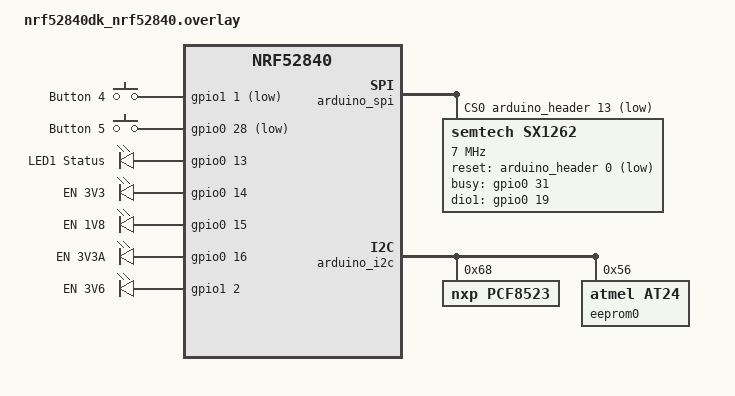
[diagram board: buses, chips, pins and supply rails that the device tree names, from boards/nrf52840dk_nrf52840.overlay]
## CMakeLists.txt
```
# SPDX-License-Identifier: Apache-2.0

cmake_minimum_required(VERSION 3.20.0)

set(APP_DIR ${CMAKE_CURRENT_SOURCE_DIR})

# Match onboarding_config.h DEVICE_HW_VARIANT → Kconfig fragment, devicetree, modules.
file(READ "${APP_DIR}/include/onboarding_config.h" ONBOARDING_CONFIG_H_CONTENT)
if(ONBOARDING_CONFIG_H_CONTENT MATCHES "#define DEVICE_HW_VARIANT FLEXBOX_PLUS")
  set(FB_DEVICE_HW_VARIANT "FLEXBOX_PLUS")
elseif(ONBOARDING_CONFIG_H_CONTENT MATCHES "#define DEVICE_HW_VARIANT FLEXBOX")
  set(FB_DEVICE_HW_VARIANT "FLEXBOX")
elseif(ONBOARDING_CONFIG_H_CONTENT MATCHES "#define DEVICE_HW_VARIANT FLEXBOX_PLUS_MED")
  set(FB_DEVICE_HW_VARIANT "FLEXBOX_PLUS_MED")
else()
  message(FATAL_ERROR
    "onboarding_config.h: DEVICE_HW_VARIANT must be FLEXBOX or FLEXBOX_PLUS or FLEXBOX_PLUS_MED")
endif()

list(APPEND CONF_FILE "${APP_DIR}/prj.conf")
if(FB_DEVICE_HW_VARIANT STREQUAL "FLEXBOX_PLUS")
  list(APPEND CONF_FILE "${APP_DIR}/prj_flexbox_plus.conf")
  list(APPEND ZEPHYR_EXTRA_MODULES
    ${APP_DIR}/pn5180
    ${APP_DIR}/ssd1683
  )
  list(APPEND DTC_OVERLAY_FILE
    ${APP_DIR}/boards/nrf52840dk_nrf52840.overlay
    ${APP_DIR}/boards/nrf52840dk_nrf52840_flexbox_plus.overlay
  )
elseif(FB_DEVICE_HW_VARIANT STREQUAL "FLEXBOX_PLUS_MED")
  list(APPEND CONF_FILE "${APP_DIR}/prj_flexbox_plus_med.conf")
  list(APPEND ZEPHYR_EXTRA_MODULES
      ${APP_DIR}/ssd1683
  )
  list(APPEND DTC_OVERLAY_FILE
    ${APP_DIR}/boards/nrf52840dk_nrf52840.overlay
    ${APP_DIR}/boards/nrf52840dk_nrf52840_flexbox_plus_med.overlay
  )
else()
  list(APPEND CONF_FILE "${APP_DIR}/prj_flexbox.conf")
endif()

find_package(Zephyr REQUIRED HINTS $ENV{ZEPHYR_BASE})
project(feedbacknow1.2)

message(STATUS "FlexBox DEVICE_HW_VARIANT: ${FB_DEVICE_HW_VARIANT}")

target_include_directories(app PRIVATE
  ${APP_DIR}/include
)

set(APP_SOURCES
  src/main.c
  src/boot_info.c
  src/hw_variant_guard.c
  src/lora_app.c
  src/lora_link_stats.c
  src/lora_thread.c
  src/devnonce_store.c
  src/join_state_store.c
  src/payload_gen.c
  src/power_ctrl.c
  src/rail_manager.c
  src/buttons.c
  src/button_thread.c
  src/leds.c
  src/led_manager.c
  src/time_sync.c
  src/eeprom_probe.c
  src/button_counter_store.c
  src/last_cleaned_store.c
  src/tz_offset_store.c
  src/rtc.c
  src/smf_system_mode.c
  src/counter_sync.c
  src/downlink_dispatch.c
  src/display_manager.c
  src/nfc_service.c
  src/app_logic.c
  src/housekeeping.c
  src/adc.c
  src/inactivity_wdt.c
)

if(FB_DEVICE_HW_VARIANT STREQUAL "FLEXBOX_PLUS")
  target_include_directories(app PRIVATE
    ${APP_DIR}/assets/fonts
    ${APP_DIR}/assets/display_screens
  )
  list(APPEND APP_SOURCES
    assets/fonts/roboto_20.c
    assets/fonts/roboto_32.c
    assets/fonts/roboto_28.c
    assets/fonts/roboto_36.c
    assets/fonts/roboto_bold_36.c
    assets/fonts/roboto_bold_42.c
    assets/display_screens/boot_screen.c
    assets/display_screens/thanks_en.c
    assets/display_screens/thanks_fr.c
    assets/display_screens/thanks_de.c
    assets/display_screens/thanks_es.c
    assets/display_screens/cleaning_en.c
    assets/display_screens/cleaning_fr.c
    assets/display_screens/cleaning_de.c
    assets/display_screens/cleaning_es.c
  )
elseif(FB_DEVICE_HW_VARIANT STREQUAL "FLEXBOX_PLUS_MED")
  target_include_directories(app PRIVATE
    ${APP_DIR}/assets/fonts
    ${APP_DIR}/assets/display_screens
  )
  list(APPEND APP_SOURCES
    assets/fonts/roboto_20.c
    assets/fonts/roboto_32.c
    assets/fonts/roboto_28.c
    assets/fonts/roboto_36.c
    assets/fonts/roboto_bold_36.c
    assets/fonts/roboto_bold_42.c
    assets/display_screens/boot_screen.c
  )
endif()

target_sources(app PRIVATE ${APP_SOURCES})
```

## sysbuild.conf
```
# Sysbuild configuration for FeedbackNow Flexbox
# Enables MCUboot secure bootloader and dual-slot partition layout for OTA DFU.

SB_CONFIG_BOOTLOADER_MCUBOOT=y
SB_CONFIG_MCUBOOT_MODE_OVERWRITE_ONLY=y
```

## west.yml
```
manifest:
  self:
    path: application
  remotes:
    - name: nrf
      url-base: https://github.com/nrfconnect
  projects:
    - name: sdk-nrf
      remote: nrf
      path: nrf
      revision: v3.0.2
      import:
        path-prefix: external
      clone-depth: 1
```

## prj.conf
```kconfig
# --- 1. System & Kernel ---
CONFIG_MULTITHREADING=y
CONFIG_TICKLESS_KERNEL=y
CONFIG_REBOOT=y
CONFIG_POWEROFF=y
# hwinfo: reset-cause read for commissioning-boot gating (see boot_info.c)
CONFIG_HWINFO=y
# Optimization for production
CONFIG_SIZE_OPTIMIZATIONS=y
CONFIG_HEAP_MEM_POOL_SIZE=8192
CONFIG_MAIN_STACK_SIZE=32768
CONFIG_SYSTEM_WORKQUEUE_STACK_SIZE=4096
# --- 2. Hardware Bus Drivers ---
CONFIG_GPIO=y
CONFIG_SPI=y
CONFIG_I2C=y
CONFIG_ADC=y
CONFIG_ADC_ASYNC=y

# --- 3. External Peripherals ---
# PN5180 / SSD1683 / LVGL: prj_flexbox.conf or prj_flexbox_plus.conf (CMake picks
# from onboarding_config.h DEVICE_HW_VARIANT).
CONFIG_RTC=y
CONFIG_RTC_PCF8523=y
CONFIG_EEPROM=y
CONFIG_EEPROM_AT24=y
CONFIG_CRC=y

# --- 4. LoRaWAN Stack ---
CONFIG_LORA=y
CONFIG_LORAWAN=y
# BEGIN LORAWAN_REGION (gen_euis.py)
CONFIG_LORAMAC_REGION_US915=y
# CONFIG_LORAMAC_REGION_EU868=y
# END LORAWAN_REGION (gen_euis.py)
CONFIG_LORA_SX126X=y
# Helpful for handling downlinks and MAC commands properly
CONFIG_LORAWAN_SERVICES=y

# --- 5. Security & Stability ---
CONFIG_MPU=y
CONFIG_ARM_MPU=y
CONFIG_MPU_STACK_GUARD=y
CONFIG_STACK_CANARIES=y
CONFIG_THREAD_STACK_INFO=y
CONFIG_INIT_STACKS=y
CONFIG_THREAD_NAME=y
# Stack depth verification: logs per-thread max stack use (see sys_config stacks).
# CONFIG_THREAD_ANALYZER=y
# CONFIG_THREAD_ANALYZER_USE_LOG=y
# CONFIG_THREAD_ANALYZER_AUTO=y
# CONFIG_THREAD_ANALYZER_AUTO_INTERVAL=3600

# --- Log verbosity (see include/log_fmt.h).
# Levels: 4=DBG 3=INF 2=WRN 1=ERR.
# Default 3: LOG_STATE (subsystem) + LOG_EVT (telemetry) + WRN/ERR.
# Full DBG trace: CONFIG_LOG_DEFAULT_LEVEL=4
# ERR-only production: CONFIG_LOG_DEFAULT_LEVEL=1
# CONFIG_LORAWAN_LOG_LEVEL_WRN=y

# --- 6. Logging & Console (Production Silence) ---
# Disable serial and console to save significant battery power
CONFIG_SERIAL=n
CONFIG_CONSOLE=n
CONFIG_UART_CONSOLE=n
CONFIG_LOG=y
CONFIG_LOG_MODE_DEFERRED=y
CONFIG_LOG_DEFAULT_LEVEL=3
# Thread analyzer + boot burst fill the default ring; avoid "--- N messages dropped ---".
CONFIG_LOG_BUFFER_SIZE=8192
CONFIG_LOG_PROCESS_THREAD_STACK_SIZE=1536

# --- 7. Power Management & Debug ---
# CONFIG_PM/CONFIG_PM_DEVICE: not satisfied on nRF52840 in Zephyr 4.x (SoC deps); omit to avoid Kconfig warning.
# CONFIG_PM=y
# CONFIG_PM_DEVICE=y

# --- 8. Bluetooth Low Energy (BLE) ---
CONFIG_BT=y
CONFIG_BT_PERIPHERAL=y
CONFIG_BT_DEVICE_NAME="FBN-Flexbox-DEMO-0032"
CONFIG_BT_DEVICE_APPEARANCE=0

# Nordic SoftDevice Controller
CONFIG_BT_LL_SOFTDEVICE=y

# BLE connection & buffer tuning
CONFIG_BT_MAX_CONN=1
CONFIG_BT_MAX_PAIRED=1
CONFIG_BT_SMP=y
CONFIG_BT_BONDABLE=y
CONFIG_BT_SMP_SC_PAIR_ONLY=n
CONFIG_BT_SMP_ENFORCE_MITM=n
CONFIG_BT_BUF_ACL_RX_SIZE=502
CONFIG_BT_BUF_ACL_TX_SIZE=502
CONFIG_BT_L2CAP_TX_MTU=498
CONFIG_BT_RX_STACK_SIZE=2048

# Mobile GAP connection parameter auto-negotiation (iOS & Android friendly)
CONFIG_BT_GAP_AUTO_UPDATE_CONN_PARAMS=y
CONFIG_BT_PERIPHERAL_PREF_MIN_INT=24
CONFIG_BT_PERIPHERAL_PREF_MAX_INT=40
CONFIG_BT_PERIPHERAL_PREF_LATENCY=0
CONFIG_BT_PERIPHERAL_PREF_TIMEOUT=400


# Standard Device Information Service (DIS)
CONFIG_BT_DIS=y
CONFIG_BT_DIS_MANUF_NAME=y
CONFIG_BT_DIS_MANUF_NAME_STR="FeedbackNow"
CONFIG_BT_DIS_MODEL_NUMBER=y
CONFIG_BT_DIS_MODEL_NUMBER_STR="Flexbox"
CONFIG_BT_DIS_FW_REV=y
CONFIG_BT_DIS_FW_REV_STR="1.5.38"
CONFIG_BT_DIS_HW_REV=y
CONFIG_BT_DIS_HW_REV_STR="nRF52840"

# --- 9. MCUboot Bootloader & Flash Management ---
CONFIG_BOOTLOADER_MCUBOOT=y
CONFIG_MCUBOOT_IMGTOOL_SIGN_VERSION="1.5.38"
CONFIG_FLASH=y
CONFIG_FLASH_MAP=y
CONFIG_STREAM_FLASH=y
CONFIG_IMG_MANAGER=y
CONFIG_MCUBOOT_IMG_MANAGER=y

# --- 10. MCUmgr Over-The-Air (OTA) DFU via BLE ---
CONFIG_NET_BUF=y
CONFIG_ZCBOR=y
CONFIG_CRC=y
CONFIG_MCUMGR=y
CONFIG_MCUMGR_GRP_IMG=y
CONFIG_MCUMGR_GRP_OS=y
CONFIG_MCUMGR_TRANSPORT_BT=y
CONFIG_MCUMGR_TRANSPORT_BT_PERM_RW=y
CONFIG_MCUMGR_TRANSPORT_BT_CONN_PARAM_CONTROL=y
CONFIG_MCUMGR_TRANSPORT_BT_REASSEMBLY=y
CONFIG_MCUMGR_TRANSPORT_NETBUF_SIZE=2475
CONFIG_MCUMGR_GRP_OS_MCUMGR_PARAMS=y
CONFIG_MCUMGR_TRANSPORT_WORKQUEUE_STACK_SIZE=4608
CONFIG_SYSTEM_WORKQUEUE_STACK_SIZE=4096
```

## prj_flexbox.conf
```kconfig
# FLEXBOX variant (DEVICE_HW_VARIANT FLEXBOX in onboarding_config.h).
#
# CMake selects this fragment automatically. PN5180, SSD1683, DISPLAY, and LVGL
# are omitted by not adding those Zephyr modules or the flexbox_plus overlay —
# do not reference CONFIG_PN5180 / CONFIG_SSD1683 here (symbols do not exist).
```

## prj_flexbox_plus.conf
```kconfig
# FLEXBOX_PLUS variant — EPD (SSD1683), NFC (PN5180), LVGL (paired with
# DEVICE_HW_VARIANT FLEXBOX_PLUS in onboarding_config.h; CMake appends this
# fragment automatically).

CONFIG_PN5180=y
CONFIG_DISPLAY=y
CONFIG_SSD1683=y

CONFIG_LVGL=y
CONFIG_LV_Z_MEM_POOL_SIZE=16384
CONFIG_LV_USE_LABEL=y
CONFIG_LV_USE_LINE=y
CONFIG_LV_FONT_FMT_TXT_LARGE=y
CONFIG_LV_COLOR_DEPTH_1=y
CONFIG_LV_DPI_DEF=100

# Disable unused LVGL widgets to fit dual-bank OTA DFU partition
CONFIG_LV_USE_ANIMIMG=n
CONFIG_LV_USE_ARC=n
CONFIG_LV_USE_BAR=n
CONFIG_LV_USE_BUTTON=n
CONFIG_LV_USE_BUTTONMATRIX=n
CONFIG_LV_USE_CALENDAR=n
CONFIG_LV_USE_CANVAS=n
CONFIG_LV_USE_CHART=n
CONFIG_LV_USE_CHECKBOX=n
CONFIG_LV_USE_DROPDOWN=n
CONFIG_LV_USE_IMAGEBUTTON=n
CONFIG_LV_USE_KEYBOARD=n
CONFIG_LV_USE_LED=n
CONFIG_LV_USE_LIST=n
CONFIG_LV_USE_MENU=n
CONFIG_LV_USE_MSGBOX=n
CONFIG_LV_USE_ROLLER=n
CONFIG_LV_USE_SCALE=n
CONFIG_LV_USE_SLIDER=n
CONFIG_LV_USE_SPAN=n
CONFIG_LV_USE_SPINBOX=n
CONFIG_LV_USE_SPINNER=n
CONFIG_LV_USE_SWITCH=n
CONFIG_LV_USE_TEXTAREA=n
CONFIG_LV_USE_TABLE=n
CONFIG_LV_USE_TABVIEW=n
CONFIG_LV_USE_TILEVIEW=n
CONFIG_LV_USE_WIN=n

# Disable unused draw blend color formats (EPD is 1-bit monochrome)
CONFIG_LV_DRAW_SW_SUPPORT_RGB565=n
CONFIG_LV_DRAW_SW_SUPPORT_RGB565A8=n
CONFIG_LV_DRAW_SW_SUPPORT_RGB888=n
CONFIG_LV_DRAW_SW_SUPPORT_XRGB8888=n
CONFIG_LV_DRAW_SW_SUPPORT_ARGB8888=y
CONFIG_LV_DRAW_SW_SUPPORT_L8=n
CONFIG_LV_DRAW_SW_SUPPORT_AL88=n
CONFIG_LV_DRAW_SW_SUPPORT_A8=n
CONFIG_LV_DRAW_SW_SUPPORT_I1=y

# Use minimal monospace font for default theme instead of 15 KB Montserrat 14
CONFIG_LV_FONT_MONTSERRAT_14=n
CONFIG_LV_FONT_DEFAULT_UNSCII_8=y

CONFIG_SSD1683_LOG_LEVEL=1
CONFIG_PN5180_LOG_LEVEL=1
```

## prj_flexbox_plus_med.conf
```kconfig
# FLEXBOX_PLUS_MED variant — EPD (SSD1683), LVGL (paired with
# DEVICE_HW_VARIANT FLEXBOX_PLUS_MED in onboarding_config.h; CMake appends this
# fragment automatically).

CONFIG_PN5180=n
CONFIG_DISPLAY=y
CONFIG_SSD1683=y

CONFIG_LVGL=y
CONFIG_LV_Z_MEM_POOL_SIZE=16384
CONFIG_LV_USE_LABEL=y
CONFIG_LV_USE_LINE=y
CONFIG_LV_FONT_FMT_TXT_LARGE=y
CONFIG_LV_COLOR_DEPTH_1=y
CONFIG_LV_DPI_DEF=100

# Disable unused LVGL widgets to fit dual-bank OTA DFU partition
CONFIG_LV_USE_ANIMIMG=n
CONFIG_LV_USE_ARC=n
CONFIG_LV_USE_BAR=n
CONFIG_LV_USE_BUTTON=n
CONFIG_LV_USE_BUTTONMATRIX=n
CONFIG_LV_USE_CALENDAR=n
CONFIG_LV_USE_CANVAS=n
CONFIG_LV_USE_CHART=n
CONFIG_LV_USE_CHECKBOX=n
CONFIG_LV_USE_DROPDOWN=n
CONFIG_LV_USE_IMAGEBUTTON=n
CONFIG_LV_USE_KEYBOARD=n
CONFIG_LV_USE_LED=n
CONFIG_LV_USE_LIST=n
CONFIG_LV_USE_MENU=n
CONFIG_LV_USE_MSGBOX=n
CONFIG_LV_USE_ROLLER=n
CONFIG_LV_USE_SCALE=n
CONFIG_LV_USE_SLIDER=n
CONFIG_LV_USE_SPAN=n
CONFIG_LV_USE_SPINBOX=n
CONFIG_LV_USE_SPINNER=n
CONFIG_LV_USE_SWITCH=n
CONFIG_LV_USE_TEXTAREA=n
CONFIG_LV_USE_TABLE=n
CONFIG_LV_USE_TABVIEW=n
CONFIG_LV_USE_TILEVIEW=n
CONFIG_LV_USE_WIN=n

# Disable unused draw blend color formats (EPD is 1-bit monochrome)
CONFIG_LV_DRAW_SW_SUPPORT_RGB565=n
CONFIG_LV_DRAW_SW_SUPPORT_RGB565A8=n
CONFIG_LV_DRAW_SW_SUPPORT_RGB888=n
CONFIG_LV_DRAW_SW_SUPPORT_XRGB8888=n
CONFIG_LV_DRAW_SW_SUPPORT_ARGB8888=y
CONFIG_LV_DRAW_SW_SUPPORT_L8=n
CONFIG_LV_DRAW_SW_SUPPORT_AL88=n
CONFIG_LV_DRAW_SW_SUPPORT_A8=n
CONFIG_LV_DRAW_SW_SUPPORT_I1=y

# Use minimal monospace font for default theme instead of 15 KB Montserrat 14
CONFIG_LV_FONT_MONTSERRAT_14=n
CONFIG_LV_FONT_DEFAULT_UNSCII_8=y

CONFIG_SSD1683_LOG_LEVEL=1
#CONFIG_PN5180_LOG_LEVEL=1
```

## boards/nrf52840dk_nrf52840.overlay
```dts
/ {
    aliases {
        sw0 = &button0;
        sw1 = &button1;
        sw2 = &button2;
        sw3 = &button3;
        sw4 = &button4;
        sw5 = &button5;
        led0 = &led0;
        lora0 = &lora_semtech_sx1262mb2das;
    };

    buttons {
        compatible = "gpio-keys";

        button4: button_4 {
            label = "Button 4";
            gpios = <&gpio1 1 (GPIO_ACTIVE_LOW | GPIO_PULL_UP)>;
        };

        button5: button_5 {
            label = "Button 5";
            gpios = <&gpio0 28 (GPIO_ACTIVE_LOW | GPIO_PULL_UP)>;
        };
    };

leds {
		compatible = "gpio-leds";

		led0: led_0 {
			gpios = <&gpio0 13 GPIO_ACTIVE_HIGH>;
			label = "LED1 Status";
		};
	};

enables {
		compatible = "gpio-leds";

		en3v3: en3v3 {
			gpios = <&gpio0 14 GPIO_ACTIVE_HIGH>;
			label = "EN 3V3";
		};

		en1v8: en1v8 {
			gpios = <&gpio0 15 GPIO_ACTIVE_HIGH>;
			label = "EN 1V8";
		};

		en3v3a: en3v3a {
			gpios = <&gpio0 16 GPIO_ACTIVE_HIGH>;
			label = "EN 3V3A";
		};

		en3v6: en3v6 {
			gpios = <&gpio1 2 GPIO_ACTIVE_HIGH>;
			label = "EN 3V6";
		};
	};
};



&spi1 {
	status="disabled";
};

&qspi {
	status="disabled";
};

&pwm0 {
	status="disabled";
};


/* ---------- PINCTRL configuration ---------- */
&pinctrl {
    uart0_default: uart0_default {
        group1 {
            psels = <NRF_PSEL(UART_TX, 0, 23)>,
                    <NRF_PSEL(UART_RTS, 0, 5)>;
        };
        group2 {
            psels = <NRF_PSEL(UART_RX, 0, 20)>,
                    <NRF_PSEL(UART_CTS, 0, 7)>;
            bias-pull-up;
        };
    };

    uart0_sleep: uart0_sleep {
        group1 {
            psels = <NRF_PSEL(UART_TX, 0, 23)>,
                    <NRF_PSEL(UART_RX, 0, 20)>,
                    <NRF_PSEL(UART_RTS, 0, 5)>,
                    <NRF_PSEL(UART_CTS, 0, 7)>;
            low-power-enable;
        };
    };
};

/* ---------- UART configuration ---------- */
&uart0 {
    compatible = "nordic,nrf-uarte";
    status = "disabled";
    current-speed = <115200>;

    /* Link pinctrl groups */
    pinctrl-0 = <&uart0_default>;
    pinctrl-1 = <&uart0_sleep>;
    pinctrl-names = "default", "sleep";

    /* Optional: disable HW flow control if not used */
    // hw-flow-control;
};



&arduino_spi {
	status = "okay";

	/* LoRa CS only; EPD/NFC CS and nodes are in flexbox_plus overlay */
	cs-gpios = <&arduino_header 13 GPIO_ACTIVE_LOW>; /* LoRa CS - P1.08 */

	/* BEGIN LORA_RADIO_PROFILE (gen_euis.py) */
	lora_semtech_sx1262mb2das: sx1262@0 {
		compatible = "semtech,sx1262";
		reg = <0>;
		spi-max-frequency = <7000000>;
		label = "SX1262";
		reset-gpios = <&arduino_header 0 GPIO_ACTIVE_LOW>;
		busy-gpios  = <&gpio0 31 GPIO_ACTIVE_HIGH>;
		dio1-gpios  = <&gpio0 19 (GPIO_PULL_DOWN | GPIO_ACTIVE_HIGH)>;
		dio3-tcxo-voltage = <0x02>;
		tcxo-power-startup-delay-ms = <10>;
		dio2-tx-enable;
		status = "okay";
	};
	/* END LORA_RADIO_PROFILE (gen_euis.py) */

};

/* PCF8523 RTC on I2C (address 0x68).
 * Adjust wiring/pins by switching to &i2c0 / &i2c1 if needed, but
 * nrf52840dk's &arduino_i2c is usually routed to the Arduino header.
 */
&arduino_i2c {
	status = "okay";

	pcf8523: pcf8523@68 {
		compatible = "nxp,pcf8523";
		reg = <0x68>;
		/* Required by binding: choose "disabled" unless you have VBAT wired */
		battery-switch-over = "standard";
		/* Optional: disable CLKOUT to save power/noise */
		clkout-frequency = <0>;
	};

	/*
	 * External EEPROM (Microchip 24AA512/24LC512/24FC512, 512 Kbit = 64 KiB)
	 * I2C address: 0x56 (as wired on your custom board)
	 */
	eeprom0: eeprom@56 {
		compatible = "atmel,at24";
		reg = <0x56>;
		size = <65536>;
		pagesize = <128>;
		address-width = <16>;
		/* Binding requires a timeout (ms) for write-cycle completion polling */
		timeout = <5>;
	};
};

// &adc {
//     status = "okay";
//     #address-cells = <1>;
//     #size-cells = <0>;

//     channel@3 {
//         reg = <3>;
//         zephyr,gain = "ADC_GAIN_1_3";
//         zephyr,reference = "ADC_REF_INTERNAL";
// 		zephyr,acquisition-time = <ADC_ACQ_TIME(ADC_ACQ_TIME_MICROSECONDS, 40)>;
//         zephyr,input-positive = <NRF_SAADC_AIN3>;
//         zephyr,resolution = <10>;
//     };
// };
```

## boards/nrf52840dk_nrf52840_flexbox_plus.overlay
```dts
/ {
	chosen {
		zephyr,display = &ssd1683;
	};
};

&arduino_spi {
	/* CS pins: [0]=LoRa, [1]=EPD (PN5180 uses dedicated nss-gpios) */
	cs-gpios = <&arduino_header 13 GPIO_ACTIVE_LOW>, /* LoRa CS - P1.08 */
	           <&gpio1 12 GPIO_ACTIVE_LOW>;           /* EPD CS - P1.12 */

	ssd1683: ssd1683@1 {
		compatible = "solomon,ssd1683";
		reg = <1>;
		spi-max-frequency = <7000000>;
		width = <400>;
		height = <300>;
		dc-gpios = <&gpio1 11 GPIO_ACTIVE_HIGH>;
		reset-gpios = <&gpio1 3 GPIO_ACTIVE_HIGH>;
		busy-gpios = <&gpio0 30 GPIO_ACTIVE_HIGH>;
	};

	pn5180: pn5180@2 {
		compatible = "nxp,pn5180";
		reg = <2>;
		spi-max-frequency = <8000000>;
		irq-gpios = <&gpio0 0 GPIO_ACTIVE_HIGH>;
		rst-gpios = <&gpio0 2 GPIO_ACTIVE_HIGH>;
		busy-gpios = <&gpio0 7 GPIO_ACTIVE_HIGH>;
		nss-gpios = <&gpio0 29 (GPIO_ACTIVE_LOW | GPIO_PULL_UP)>;
		timeout-ms = <1000>;
	};
};
```

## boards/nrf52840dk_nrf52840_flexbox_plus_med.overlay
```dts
/ {
	chosen {
		zephyr,display = &ssd1683;
	};
};

&arduino_spi {
	/* CS pins: [0]=LoRa, [1]=EPD (PN5180 uses dedicated nss-gpios) */
	cs-gpios = <&arduino_header 13 GPIO_ACTIVE_LOW>, /* LoRa CS - P1.08 */
	           <&gpio1 12 GPIO_ACTIVE_LOW>;           /* EPD CS - P1.12 */

	ssd1683: ssd1683@1 {
		compatible = "solomon,ssd1683";
		reg = <1>;
		spi-max-frequency = <7000000>;
		width = <400>;
		height = <300>;
		dc-gpios = <&gpio1 11 GPIO_ACTIVE_HIGH>;
		reset-gpios = <&gpio1 3 GPIO_ACTIVE_HIGH>;
		busy-gpios = <&gpio0 30 GPIO_ACTIVE_HIGH>;
	};

};
```

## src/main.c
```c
/*
 * FlexBox v1.2 — Main entry. Initializes hardware, starts LoRa + SMF + Input
 * threads; main then sleeps. Orchestration is via SMF (system mode FSM).
 * SPDX-License-Identifier: Apache-2.0
 */

#include <stdbool.h>
#include <zephyr/device.h>
#include <zephyr/devicetree.h>
#include <zephyr/drivers/i2c.h>
#include <zephyr/kernel.h>
#include <zephyr/logging/log.h>
#include <zephyr/sys/util.h>

#include "battery_adc.h"
#include "boot_info.h"
#include "button_counter_store.h"
#include "button_thread.h"
#include "buttons.h"
#include "devnonce_store.h"
#include "display_manager.h"
#include "eeprom_probe.h"
#include "housekeeping.h"
#include "join_state_store.h"
#include "last_cleaned_store.h"
#include "led_manager.h"
#include "log_fmt.h"
#include "lora_app.h"
#include "nfc_service.h"
#include "payload_gen.h"
#include "power_ctrl.h"
#include "rtos_thread_affinity.h"
#include "rail_manager.h"
#include "rtc.h"
#include "smf_system_mode.h"
#include "sys_config.h"
#include "time_sync.h"
#include "tz_offset_store.h"
#include "inactivity_wdt.h"

#include <zephyr/sys/reboot.h>

LOG_MODULE_REGISTER(main, CONFIG_LOG_DEFAULT_LEVEL);

/**
 * Single consolidated init: dependency order is EEPROM probe, rail_manager,
 * then EEPROM-backed stores (counters, devnonce, join_state), then RTC and
 * display stores, then peripherals (battery ADC, NFC, display, LoRa).
 * Factory-reset one-shots (if enabled) reboot and do not return.
 * Returns 0 on success, negative on failure.
 */
static int system_init(void) {
  int ret;

  /* Payload builder mutex; counters come from EEPROM after
   * button_counter_store_init() below. */
  payload_gen_init();

  ret = led_manager_init();
  if (ret != 0) {
    LOG_WRN("LED manager init failed (%d); LED feedback may be disabled", ret);
  }

  eeprom_probe_log();

  ret = rail_manager_init();
  if (ret != 0) {
    LOG_ERR("rail_manager_init failed: %d", ret);
    return ret;
  }

  ret = button_counter_store_init();
  if (ret != 0) {
    LOG_ERR("Button counter store init failed (%d) - rebooting", ret);
    sys_reboot(SYS_REBOOT_COLD);
  }

  ret = devnonce_store_init();
  if (ret != 0) {
    LOG_ERR("DevNonce store init failed (%d) - rebooting", ret);
    sys_reboot(SYS_REBOOT_COLD);
  }

  (void)join_state_store_init();

#if EEPROM_DEVNONCE_FACTORY_RESET_ON_BOOT
  ret = devnonce_store_factory_reset();
  if (ret != 0) {
    LOG_ERR("DevNonce factory reset failed (%d) - rebooting", ret);
  }
  LOG_DBG("DevNonce factory reset complete - rebooting");
  sys_reboot(SYS_REBOOT_COLD);
#endif

#if EEPROM_COUNTERS_FACTORY_RESET_ON_BOOT
  ret = button_counter_store_factory_reset();
  if (ret != 0) {
    LOG_ERR("Factory reset failed (%d) - rebooting", ret);
  }
  sys_reboot(SYS_REBOOT_COLD);
#endif

  ret = rtc_app_init();
  if (ret != 0) {
    LOG_WRN("RTC init not available (%d); button timestamps will use uptime",
            ret);
    /* Continue without RTC - system can still function with uptime fallback */
  }

  (void)last_cleaned_store_init();
  (void)tz_offset_store_init();
  uint32_t rtc_epoch = 0;
  if (rtc_get_epoch_seconds(&rtc_epoch) == 0) {
    (void)last_cleaned_store_ensure_non_empty(rtc_epoch);
  }

  ret = battery_adc_init();
  if (ret != 0) {
    LOG_WRN("battery_adc_init failed (%d); heartbeat battery status disabled",
            ret);
  } else {
    int32_t battery_mv = 0;
    if (battery_adc_read_mv(&battery_mv) == 0 && battery_mv > 0) {
      LOG_DBG("boot bat=%dmV", (int)battery_mv);
    }
  }

#if NFC_ENABLED
  ret = nfc_service_init();
  if (ret != 0) {
    LOG_WRN("nfc_service_init failed (%d); Staff NFC disabled", ret);
  }
#endif

  (void)display_manager_init();

  ret = lora_app_init();
  if (ret < 0) {
    LOG_ERR("Failed to initialize LoRa app: %d", ret);
    return ret;
  }

  return 0;
}

int main(void) {

// This is part of testing enableing NFC between MED and Non MED device
#ifdef NFC_ENABLED
    printk("Macro is DEFINED. Value: %d\n", NFC_ENABLED);
#else
    printk("Macro is NOT defined.\n");
#endif

  int ret;

  LOG_SECTION_INF("FlexBox+ v" FW_VERSION_STRING " starting");

  /* Capture + clear reset cause before anything else so later code (Stage 3
   * install screen) can gate UI on commissioning-class boots only. Failure is
   * non-fatal; we just lose the gating signal. */
  (void)boot_info_init();

  k_sleep(K_SECONDS(1));

  ret = power_ctrl_init();
  if (ret < 0) {
    LOG_ERR("Power control init failed: %d", ret);
    return ret;
  }

  power_ctrl_set(POWER_EN_3V3, true);
  power_ctrl_set(POWER_EN_1V8, true);
  power_ctrl_set(POWER_EN_3V3A, true);
  rtc_notify_3v3a_enabled();
#if NFC_ENABLED
  power_ctrl_set(POWER_EN_3V6, true);
#endif

  k_sleep(K_SECONDS(1));

#if DT_NODE_EXISTS(DT_NODELABEL(arduino_i2c))
  const struct device *i2c_dev = DEVICE_DT_GET(DT_NODELABEL(arduino_i2c));
  if (i2c_dev != NULL) {
    int i2c_retries = 10;
    while (i2c_retries > 0 && !device_is_ready(i2c_dev)) {
      LOG_DBG("Waiting for I2C bus to be ready...");
      k_msleep(100);
      i2c_retries--;
    }
    if (device_is_ready(i2c_dev)) {
      LOG_DBG("I2C bus ready");
    } else {
      LOG_WRN("I2C bus not ready after waiting");
    }
  }
  k_msleep(50);
#endif

  ret = system_init();
  if (ret != 0) {
    return ret;
  }

  inactivity_wdt_init();

  /* Enter idle before worker threads run to avoid refcount-reset races. */
  rail_manager_enter_idle();
  LOG_DBG("rails idle (3.3 / 3.3A / 3.6 off until use)");

  /* Centralized thread start (single block for ordering and priorities). */
  k_thread_start(led_ui_thread_id);
  (void)led_manager_wait_until_ready(K_SECONDS(1));
#if NFC_ENABLED
  k_thread_start(nfc_worker_id);
  (void)nfc_service_wait_until_ready(K_SECONDS(1));
#endif
#if EPD_ENABLED
  uint32_t epoch = 0;
  //epoch = 1778665556; // hardcoded epoch for testing
  rtc_get_epoch_seconds(&epoch);
  /* Logo uses long EPD SPI; finish before LoRa thread joins (same SPI bus). */
#if DEVICE_HW_VARIANT != FLEXBOX_PLUS_MED
  display_show_logo();
#else
  room_alert_state_update(SCREEN_STATE_6_PATIENT_IS_IN, epoch); // Initialize the room alert state to last button
  display_show_room_alert_status_sync();
#endif /* end FLEXBOX_PLUS_MED */
#endif /* end EPD_ENABLE */
  k_thread_start(lora_thread_id);
  (void)lora_wait_until_ready(K_SECONDS(1));
  k_thread_start(smf_thread_id);

  ret = buttons_init();
  if (ret != 0) {
    LOG_ERR("buttons_init failed: %d", ret);
    return 0;
  }

  k_thread_start(button_uplink_thread_id);
  (void)button_thread_wait_until_ready(K_SECONDS(1));

  LOG_STATE("House Keeing Started 1");
  
  (void)housekeeping_init();
  (void)housekeeping_wait_until_ready(K_SECONDS(1));

  LOG_DBG("workers running: LED NFC LoRa SMF input HK");
  LOG_STATE("system go (workers started)");

  /* Signal SMF: all inits and threads started ("system go"). */
  if (smf_post_event(SMF_EVT_SYSTEM_READY, 0, k_uptime_get()) != 0) {
    LOG_WRN("Failed to post SYSTEM_READY to SMF");
  } else if (smf_wait_until_ready(K_SECONDS(2)) != 0) {
    LOG_WRN("SMF ready ack timeout; proceeding with rail idle transition");
  }

  /* Main sleeps; buttons wake via GPIO; Input -> SMF -> app_logic -> LED/uplink
   */
  for (;;) {
    k_sleep(K_FOREVER);
  }
}
```

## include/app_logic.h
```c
/**
 * Application logic (per architecture): map mode + button + NFC to actions.
 * Public vote: cooldown, LED, increment counter, build payload, request uplink.
 */
#ifndef APP_LOGIC_H
#define APP_LOGIC_H

#include <stdint.h>

/**
 * Called from system mode FSM when in Normal and a single button press event
 * is received. Enforces 5s cooldown, LED feedback, payload build, uplink.
 * @param button_id  Driver button index (0..NUM_BUTTONS-1), used for payload.
 */
void app_logic_public_vote(uint8_t button_id);

#endif /* APP_LOGIC_H */
```

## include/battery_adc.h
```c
#ifndef BATTERY_ADC_H
#define BATTERY_ADC_H

#include <stdint.h>

/**
 * @brief Initialize battery ADC channel (AIN3 on nRF52840DK).
 *
 * Call once at boot (after rails/I2C are ready). Returns 0 on success.
 */
int battery_adc_init(void);

/**
 * @brief Read battery voltage in millivolts and refresh the shared cache.
 *
 * Synchronously reads one ADC sample and converts to VBAT millivolts using
 * the configured resistor divider. On success, updates last_battery_mv and the
 * LoRaWAN DevStatus level (same cache used by device-info EPD). Caller should
 * ensure any required power rails (e.g. 3.3A) are enabled.
 *
 * Called at boot (main) and on each housekeeping run.
 *
 * @param battery_mv Output millivolts.
 * @return 0 on success, negative errno on failure.
 */
int battery_adc_read_mv(int32_t *battery_mv);

/**
 * Update shared battery cache from a known mV value (LoRaWAN level derived).
 * Prefer battery_adc_read_mv(); this remains for explicit cache writes.
 */
void battery_adc_lorawan_cache_set_from_mv(int32_t battery_mv);

/**
 * Last cached battery voltage in millivolts (boot sample or latest HK read).
 * Returns -ENODATA if unknown.
 */
int battery_adc_last_mv_get(int32_t *battery_mv);

/**
 * Format cached mV as "x.xxx v" for EPD (integer math; no float printf).
 * Returns 0 on success, -EINVAL on bad args.
 */
int battery_adc_format_mv_display(int32_t battery_mv, char *buf, size_t buf_len);

/**
 * LoRaWAN battery callback value: 1..254 from last cache update, 255 if
 * unknown (no successful read yet). Safe from any thread; O(1).
 */
uint8_t battery_adc_lorawan_level_get(void);

#endif /* BATTERY_ADC_H */
```

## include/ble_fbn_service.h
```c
/**
 * @file ble_fbn_service.h
 * @brief FeedbackNow Custom Bluetooth LE GATT Service.
 *
 * Exposes:
 *  1. Configuration Characteristic (Read active parameters; Write new LoRa keys,
 *     Unit ID, or sync RTC time).
 *  2. Diagnostics Characteristic (Read / Notify live telemetry: Battery mV, RTC time,
 *     LoRa join status, link margin, gateway count, button counters 1-5, last cleaned).
 *  3. Control Characteristic (Write action commands: force join, test uplink,
 *     clear counters, refresh display, reboot, stop BLE).
 */

#ifndef BLE_FBN_SERVICE_H
#define BLE_FBN_SERVICE_H

#include <stdbool.h>
#include <stdint.h>
#include <zephyr/bluetooth/bluetooth.h>
#include <zephyr/bluetooth/conn.h>
#include <zephyr/bluetooth/gatt.h>
#include <zephyr/bluetooth/uuid.h>

#ifdef __cplusplus
extern "C" {
#endif

/*
 * FeedbackNow Custom 128-bit UUIDs
 * Base: 46424e00-0001-4000-8000-00805f9b34fb ('FBN')
 */
#define BT_UUID_FBN_VAL \
  BT_UUID_128_ENCODE(0x46424e00, 0x0001, 0x4000, 0x8000, 0x00805f9b34fb)

#define BT_UUID_FBN_CONFIG_VAL \
  BT_UUID_128_ENCODE(0x46424e01, 0x0001, 0x4000, 0x8000, 0x00805f9b34fb)

#define BT_UUID_FBN_DIAG_VAL \
  BT_UUID_128_ENCODE(0x46424e02, 0x0001, 0x4000, 0x8000, 0x00805f9b34fb)

#define BT_UUID_FBN_CTRL_VAL \
  BT_UUID_128_ENCODE(0x46424e03, 0x0001, 0x4000, 0x8000, 0x00805f9b34fb)

#define BT_UUID_FBN_SERVICE      BT_UUID_DECLARE_128(BT_UUID_FBN_VAL)
#define BT_UUID_FBN_CONFIG_CHRC  BT_UUID_DECLARE_128(BT_UUID_FBN_CONFIG_VAL)
#define BT_UUID_FBN_DIAG_CHRC    BT_UUID_DECLARE_128(BT_UUID_FBN_DIAG_VAL)
#define BT_UUID_FBN_CTRL_CHRC    BT_UUID_DECLARE_128(BT_UUID_FBN_CTRL_VAL)

/* Configuration Command OpCodes (written to Config Characteristic) */
enum fbn_ble_config_cmd {
  FBN_CFG_CMD_SET_LORA_KEYS = 0x01,
  FBN_CFG_CMD_SET_IDENTITY  = 0x02,
  FBN_CFG_CMD_SYNC_RTC      = 0x03,
  FBN_CFG_CMD_RESET_CONFIG  = 0x04,
};

/* Control Action OpCodes (written to Control Characteristic) */
enum fbn_ble_ctrl_cmd {
  FBN_CTRL_CMD_LORA_JOIN        = 0x01,
  FBN_CTRL_CMD_LORA_TEST_UPLINK = 0x02,
  FBN_CTRL_CMD_CLEAR_COUNTERS   = 0x03,
  FBN_CTRL_CMD_REFRESH_DISPLAY  = 0x04,
  FBN_CTRL_CMD_REBOOT           = 0x05,
  FBN_CTRL_CMD_STOP_BLE         = 0x06,
};

/**
 * Packed binary payload returned when Reading the Configuration Characteristic
 */
struct __packed fbn_ble_config_read_resp {
  uint8_t  magic;             /* 0xFB */
  uint8_t  version;           /* 0x01 */
  uint8_t  is_provisioned;    /* 1 if EEPROM provisioned, 0 if compile-time */
  uint8_t  lora_region;       /* 1=US915, 2=EU868, 3=AU915, 4=AS923 */
  uint8_t  dev_eui[8];        /* LoRaWAN DevEUI */
  uint8_t  join_eui[8];       /* LoRaWAN JoinEUI / AppEUI */
  uint8_t  app_key[16];       /* LoRaWAN AppKey */
  char     unit_id[16];       /* Unit identifier string */
  char     client_name[24];   /* Client / Deployment tag */
  uint32_t provision_epoch;   /* Provisioning timestamp */
};

/**
 * Packed binary payload returned when Reading or Notifying the Diagnostics Characteristic
 */
struct __packed fbn_ble_diag_read_resp {
  uint16_t battery_mv;          /* Battery ADC voltage (mV) */
  uint32_t rtc_epoch;           /* PCF8523 current epoch seconds */
  uint32_t uptime_seconds;      /* Kernel uptime in seconds */
  uint8_t  lora_joined;         /* 1 if joined, 0 otherwise */
  int16_t  last_demod_margin;   /* LoRa LinkCheck demod margin (dB), INT16_MIN if none */
  uint8_t  last_nb_gateways;    /* Gateways received in LinkCheckAns */
  uint16_t link_check_samples;  /* Total LinkCheck responses received */
  uint32_t button_counts[6];    /* Press counts for buttons 1, 2, 3, 4, 5, 6 */
  uint32_t last_cleaned_epoch;  /* Timestamp from last cleaning / NFC check-out */
  uint8_t  boot_cause;          /* Boot reset cause (boot_info_get_cause()) */
  uint8_t  hw_variant;          /* 0=FLEXBOX, 1=FLEXBOX_PLUS, 2=FLEXBOX_PLUS_MED */
  uint8_t  fw_version_major;    /* e.g. 1 */
  uint8_t  fw_version_minor;    /* e.g. 5 */
  uint8_t  fw_version_patch;    /* e.g. 3 */
};

/**
 * @brief Initialize the FeedbackNow Custom GATT Service.
 * @return 0 on success, negative errno on failure.
 */
int ble_fbn_service_init(void);

/**
 * @brief Send a notification of current live diagnostics to connected peer.
 * @return 0 on success, negative errno if not connected or notifications disabled.
 */
int ble_fbn_service_notify_diag(void);

#ifdef __cplusplus
}
#endif

#endif /* BLE_FBN_SERVICE_H */
```

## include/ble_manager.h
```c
/**
 * @file ble_manager.h
 * @brief Bluetooth Low Energy lifecycle and advertising manager for
 * FeedbackNow.
 *
 * Responsibilities:
 *  - Initialize the Zephyr Bluetooth stack.
 *  - Control connectable advertising with power-saving automatic timeout.
 *  - Manage peer connection and disconnection events.
 *  - Provide on-demand advertising activation (boot, button combo, NFC swipe).
 */

#ifndef BLE_MANAGER_H
#define BLE_MANAGER_H

#include <stdbool.h>
#include <stdint.h>

#ifdef __cplusplus
extern "C" {
#endif

/** Default duration (in seconds) that BLE advertises before automatically
 * sleeping */
#ifndef BLE_ADV_TIMEOUT_SECONDS
#define BLE_ADV_TIMEOUT_SECONDS 60U
#endif

/**
 * @brief Initialize BLE stack, register callbacks, and start initial boot
 * advertising.
 * @return 0 on success, negative errno on failure.
 */
int ble_manager_init(void);

/**
 * @brief Start connectable BLE advertising with an automatic timeout.
 *
 * Can be called at boot, on button combo, or on staff NFC swipe.
 * If already advertising, restarts the timeout window.
 *
 * @return 0 on success, negative errno on failure.
 */
int ble_manager_start_advertising(void);

/**
 * @brief Stop BLE advertising immediately and return radio to lowest power
 * state.
 * @return 0 on success, negative errno on failure.
 */
int ble_manager_stop_advertising(void);

/**
 * @brief Check if the device is currently advertising over BLE.
 */
bool ble_manager_is_advertising(void);

/**
 * @brief Check if an active BLE connection is established.
 */
bool ble_manager_is_connected(void);

#ifdef __cplusplus
}
#endif

#endif /* BLE_MANAGER_H */
```

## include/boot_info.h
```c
/**
 * Boot info: one-shot capture of the hardware reset cause so later code can
 * decide whether this boot is a "commissioning-class" event that deserves
 * installer UI (device status screen after join on commission boot) vs. an
 * in-field fault
 * reboot that should stay silent.
 *
 * We read CONFIG_HWINFO reset cause once, very early in main(), and clear it
 * so subsequent boots start clean.
 *
 * Commissioning boots (show installer UI):
 *  - RESET_POR      (cold power-on / first boot after assembly)
 *  - RESET_PIN      (reset button held)
 *  - RESET_SOFTWARE (sys_reboot from Staff+0+1+2+3 combo, or downlink 0x07)
 *
 * Silent / fault boots (skip installer UI):
 *  - RESET_WATCHDOG
 *  - RESET_BROWNOUT
 *  - anything else (treated conservatively as silent)
 */
#ifndef BOOT_INFO_H
#define BOOT_INFO_H

#include <stdbool.h>
#include <stdint.h>

#ifdef __cplusplus
extern "C" {
#endif

enum boot_cause_kind {
  BOOT_CAUSE_UNKNOWN = 0,
  BOOT_CAUSE_POWER_ON,        /* RESET_POR */
  BOOT_CAUSE_RESET_PIN,       /* RESET_PIN */
  BOOT_CAUSE_SOFTWARE,        /* RESET_SOFTWARE (sys_reboot) */
  BOOT_CAUSE_WATCHDOG,        /* RESET_WATCHDOG */
  BOOT_CAUSE_BROWNOUT,        /* RESET_BROWNOUT */
  BOOT_CAUSE_OTHER,           /* any other bit set */
};

/**
 * Read and clear the reset cause from hwinfo. Idempotent — subsequent calls
 * return the cached value without touching hardware. Safe to call before any
 * threads are started.
 *
 * @return 0 on success, negative errno on hwinfo failure (cause stays UNKNOWN).
 */
int boot_info_init(void);

/** Get the cached boot cause kind. Returns UNKNOWN if init hasn't run. */
enum boot_cause_kind boot_info_get_cause(void);

/** Raw cause bitmask from hwinfo (OR of RESET_* bits). 0 if unknown. */
uint32_t boot_info_get_raw(void);

/**
 * True if this boot should trigger commissioning-class UI (install screen,
 * etc.). Currently: POWER_ON, RESET_PIN, or SOFTWARE reset. Watchdog/brownout
 * and anything else return false.
 */
bool boot_info_is_commission_boot(void);

/** Short human string for logs. */
const char *boot_info_cause_str(void);

#ifdef __cplusplus
}
#endif

#endif /* BOOT_INFO_H */
```

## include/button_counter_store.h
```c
#ifndef BUTTON_COUNTER_STORE_H
#define BUTTON_COUNTER_STORE_H

#include <stdint.h>

/**
 * @brief Initialize persistent per-button counters.
 *
 * EEPROM is mandatory: on failure, returns a negative errno.
 */
int button_counter_store_init(void);

/**
 * @brief Increment and return the counter for a given button.
 *
 * @param button_id 0..NUM_BUTTONS-1
 * @param out_counter Optional; receives new counter value.
 * @return 0 on success, negative errno on failure.
 */
int button_counter_store_inc(uint8_t button_id, uint32_t *out_counter);

/**
 * @brief Get current counter value for a given button.
 *
 * @param button_id 0..NUM_BUTTONS-1
 * @param out_counter Output.
 * @return 0 on success, negative errno on failure.
 */
int button_counter_store_get(uint8_t button_id, uint32_t *out_counter);

/**
 * @brief Factory reset the persistent counter area in EEPROM.
 *
 * Erases the counter slots and writes an initial zeroed record.
 *
 * @return 0 on success, negative errno on failure.
 */
int button_counter_store_factory_reset(void);

#endif /* BUTTON_COUNTER_STORE_H */
```

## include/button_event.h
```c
/**
 * High-level button events published by the Input (button) subsystem on zbus.
 * Subscribers: system mode, application logic.
 */
#ifndef BUTTON_EVENT_H
#define BUTTON_EVENT_H

#include <stdint.h>
#include <zephyr/zbus/zbus.h>

/* Declare so channel can list this observer (defined in main.c or elsewhere) */
ZBUS_LISTENER_DECLARE(button_event_listener);

/* High-level event kinds: single button tap or combo (after hold duration) */
typedef enum {
    BUTTON_EVENT_KIND_SINGLE_0,
    BUTTON_EVENT_KIND_SINGLE_1,
    BUTTON_EVENT_KIND_SINGLE_2,
    BUTTON_EVENT_KIND_SINGLE_3,
    BUTTON_EVENT_KIND_SINGLE_4,
    BUTTON_EVENT_KIND_SINGLE_5,
    BUTTON_EVENT_KIND_COMBO_STAFF_MODE,
    BUTTON_EVENT_KIND_COMBO_DEVICE_INFO,
    BUTTON_EVENT_KIND_COMBO_DELIBERATE_JOIN,
    BUTTON_EVENT_KIND_COMBO_REBOOT,
    BUTTON_EVENT_KIND_COUNT
} button_event_kind_t;

typedef struct {
    button_event_kind_t kind;
    int64_t timestamp_ms;
} button_event_msg_t;

/* zbus channel name for button_event (define in .c with ZBUS_CHAN_DECLARE) */
#define BUTTON_EVENT_CHAN_NAME "button_event"

#endif /* BUTTON_EVENT_H */
```

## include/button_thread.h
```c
#ifndef BUTTON_THREAD_H
#define BUTTON_THREAD_H

#include <zephyr/kernel.h>

/* Thread is defined in button_thread.c */
extern const k_tid_t button_uplink_thread_id;
int button_thread_wait_until_ready(k_timeout_t timeout);

#endif /* BUTTON_THREAD_H */
```

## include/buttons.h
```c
#ifndef BUTTONS_H
#define BUTTONS_H

#include "sys_config.h"
#include <zephyr/devicetree.h>
#include <zephyr/drivers/gpio.h>
#include <zephyr/kernel.h>

extern const struct gpio_dt_spec buttons[NUM_BUTTONS];

typedef enum { BUTTON_EVENT_PRESS, BUTTON_EVENT_RELEASE } button_event_type_t;

typedef struct {
    uint8_t button_id;
    button_event_type_t type;
    int64_t timestamp_ms;
} button_event_t;

int buttons_init(void);
bool buttons_get_event(button_event_t *event, k_timeout_t timeout);

#endif /* BUTTONS_H */
```

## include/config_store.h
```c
/**
 * @file config_store.h
 * @brief Dynamic configuration store backed by external EEPROM with fallback
 *        to compile-time defaults (eui_keys.h / onboarding_config.h).
 *
 * Supports runtime BLE onboarding / provisioning of:
 *  - LoRaWAN DevEUI (8 bytes)
 *  - LoRaWAN JoinEUI / AppEUI (8 bytes)
 *  - LoRaWAN AppKey (16 bytes)
 *  - LoRaWAN Regional Frequency (US915=1, EU868=2, AU915=3, AS923=4)
 *  - Device Unit ID string (up to 16 bytes)
 *  - Client Name string (up to 24 bytes)
 */

#ifndef CONFIG_STORE_H
#define CONFIG_STORE_H

#include <stdbool.h>
#include <stdint.h>
#include <stddef.h>

#ifdef __cplusplus
extern "C" {
#endif

#define CONFIG_STORE_MAGIC       0x46424E43U /* 'FBNC' (FeedBackNow Config) */
#define CONFIG_STORE_VERSION     1U

#define CONFIG_STORE_UNIT_ID_LEN     16U
#define CONFIG_STORE_CLIENT_NAME_LEN 24U

enum lora_region_id {
  LORA_REGION_UNSPECIFIED = 0,
  LORA_REGION_US915 = 1,
  LORA_REGION_EU868 = 2,
  LORA_REGION_AU915 = 3,
  LORA_REGION_AS923 = 4,
};

struct __packed fbn_config_record {
  uint32_t magic;
  uint8_t  version;
  uint8_t  lora_region;
  uint8_t  reserved[2];
  uint8_t  dev_eui[8];
  uint8_t  join_eui[8];
  uint8_t  app_key[16];
  char     unit_id[CONFIG_STORE_UNIT_ID_LEN];
  char     client_name[CONFIG_STORE_CLIENT_NAME_LEN];
  uint32_t provision_epoch;
  uint32_t crc32;
};

/**
 * @brief Initialize config store from EEPROM. If invalid or unwritten, loads defaults.
 * @return 0 on success, negative errno on EEPROM failure.
 */
int config_store_init(void);

/**
 * @brief Check if valid runtime provisioned configuration exists in EEPROM.
 */
bool config_store_is_provisioned(void);

/**
 * @brief Get active DevEUI (from EEPROM if provisioned, else build-time default).
 */
void config_store_get_dev_eui(uint8_t out[8]);

/**
 * @brief Get active JoinEUI (from EEPROM if provisioned, else build-time default).
 */
void config_store_get_join_eui(uint8_t out[8]);

/**
 * @brief Get active AppKey (from EEPROM if provisioned, else build-time default).
 */
void config_store_get_app_key(uint8_t out[16]);

/**
 * @brief Get active LoRa region identifier.
 */
uint8_t config_store_get_region(void);

/**
 * @brief Get active Unit ID string.
 */
const char *config_store_get_unit_id(void);

/**
 * @brief Get active Client Name string.
 */
const char *config_store_get_client_name(void);

/**
 * @brief Get active provision epoch (0 if default compile-time keys).
 */
uint32_t config_store_get_provision_epoch(void);

/**
 * @brief Save new LoRa keys to EEPROM.
 */
int config_store_set_lora_keys(const uint8_t dev_eui[8], const uint8_t join_eui[8],
                               const uint8_t app_key[16], uint8_t region);

/**
 * @brief Save new Unit ID and Client Name to EEPROM.
 */
int config_store_set_identity(const char *unit_id, const char *client_name);

/**
 * @brief Factory reset dynamic configuration area in EEPROM (reverts to compile-time keys).
 */
int config_store_factory_reset(void);

#ifdef __cplusplus
}
#endif

#endif /* CONFIG_STORE_H */
```

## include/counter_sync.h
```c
/**
 * Counter-sync uplinks: one EVT_COUNTER_SYNC (0x12) per button on DL 0x04 only.
 */
#ifndef COUNTER_SYNC_H
#define COUNTER_SYNC_H

#include <stdbool.h>
#include <stdint.h>

/** @return Number of counter-sync uplinks successfully queued. */
uint32_t counter_sync_run(uint32_t epoch_s, bool confirmed);

#endif /* COUNTER_SYNC_H */
```

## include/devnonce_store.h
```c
#ifndef DEVNONCE_STORE_H
#define DEVNONCE_STORE_H

#include <stdint.h>

/**
 * @brief Initialize persistent DevNonce storage.
 *
 * Uses external EEPROM (eeprom0). On failure returns negative errno.
 */
int devnonce_store_init(void);

/**
 * @brief Allocate the next DevNonce value (monotonic) and persist it.
 *
 * This function reserves the value in EEPROM before returning it, so that
 * even if the device resets mid-join, the same DevNonce will not be reused.
 *
 * @param out_nonce Output DevNonce (0..65535)
 * @return 0 on success, negative errno on failure.
 */
int devnonce_store_next(uint16_t *out_nonce);

/**
 * @brief Factory reset: erase DevNonce store and reinitialize so next join
 *        uses devnonce 0.
 *
 * Erases both EEPROM slots and reinitializes; next devnonce_store_next() will
 * return 0. Use via downlink 0x06 or EEPROM_DEVNONCE_FACTORY_RESET_ON_BOOT.
 *
 * @return 0 on success, negative errno on failure.
 */
int devnonce_store_factory_reset(void);

#endif /* DEVNONCE_STORE_H */
```
